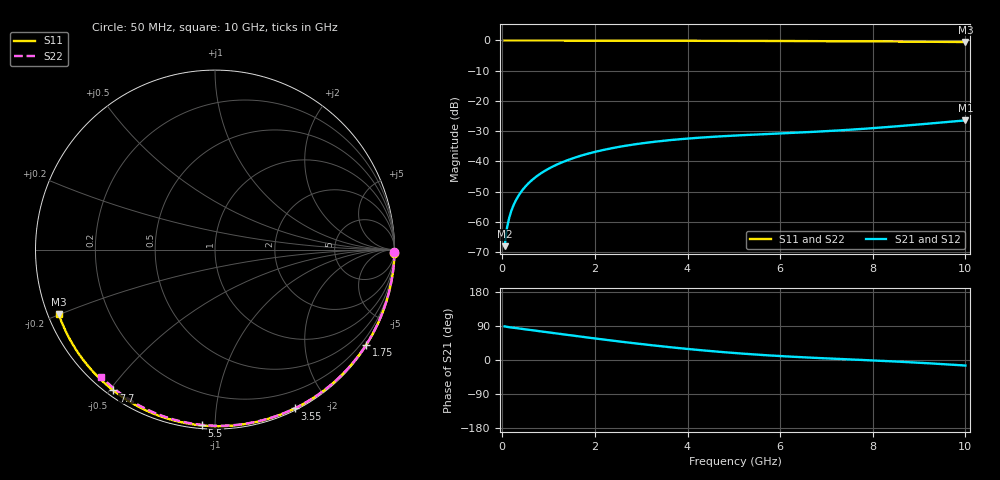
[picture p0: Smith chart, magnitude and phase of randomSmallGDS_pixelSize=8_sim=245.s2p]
! freq	dB(S11)	phase(S11)	dB(S12)	phase(S12)
!  dB(S21)	phase(S21)	dB(S22)	phase(S22)
!S-par simulation data
#  GHz  S  DB  R 50
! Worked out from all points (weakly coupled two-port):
!   200 points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, 50 MHz to 10 GHz, reference 50 ohm
!   highest |S21| = -26.43 dB at 10 GHz (marker M1); lowest = -68.0 dB at 50 MHz (marker M2)
!   lowest |S11| = -0.5 dB at 10 GHz (marker M3), VSWR 33.50, Z = 1.55 - j9.86 ohm
!   |S11| at or under -10 dB: nowhere
!   |S22| runs from -0.4 to 0.0 dB; largest |S21 - S12| = 0
!   S11 on the Smith chart (normalised r, x): 50 MHz: open; 1.75 GHz: 0.03, -3.47; 3.55 GHz: 0.02, -1.62; 5.5 GHz: 0.02, -0.93; 7.7 GHz: 0.02, -0.51; 10 GHz: 0.03, -0.20
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0.05  -0.00 -0.9  -68.01 88.7  -68.01 88.7  -0.00 -0.8
0.1  -0.00 -1.9  -62.04 87.5  -62.04 87.5  -0.00 -1.5
0.15  -0.00 -2.8  -58.57 86.6  -58.57 86.6  -0.00 -2.3
0.2  -0.00 -3.8  -56.11 85.7  -56.11 85.7  -0.00 -3.1
0.25  -0.00 -4.7  -54.20 84.9  -54.20 84.9  -0.00 -3.9
0.35  -0.00 -6.6  -51.33 83.3  -51.33 83.3  -0.00 -5.4
0.5  -0.01 -9.4  -48.28 81.0  -48.28 81.0  -0.01 -7.7
0.7  -0.01 -13.1  -45.41 77.7  -45.41 77.7  -0.01 -10.8
1  -0.02 -18.6  -42.40 72.8  -42.40 72.8  -0.02 -15.3
1.35  -0.03 -25.0  -39.93 67.2  -39.93 67.2  -0.03 -20.6
1.75  -0.04 -32.2  -37.86 60.8  -37.86 60.8  -0.03 -26.6
2.5  -0.06 -45.5  -35.24 49.3  -35.24 49.3  -0.05 -37.7
3.4  -0.08 -60.8  -33.30 36.7  -33.30 36.7  -0.07 -50.6
3.55  -0.09 -63.3  -33.06 34.7  -33.06 34.7  -0.07 -52.7
4.3  -0.11 -75.6  -32.10 25.7  -32.10 25.7  -0.09 -63.1
5.05  -0.14 -87.3  -31.42 18.1  -31.42 18.1  -0.11 -73.1
5.5  -0.15 -94.1  -31.09 14.2  -31.09 14.2  -0.13 -78.9
6.7  -0.22 -111.7  -30.23 5.9  -30.23 5.9  -0.18 -93.9
7.7  -0.29 -125.8  -29.32 0.5  -29.32 0.5  -0.24 -105.8
8.35  -0.34 -134.8  -28.59 -3.1  -28.59 -3.1  -0.29 -113.3
9.2  -0.43 -146.5  -27.51 -8.6  -27.51 -8.6  -0.36 -122.9
10  -0.52 -157.7  -26.43 -14.6  -26.43 -14.6  -0.44 -131.8
